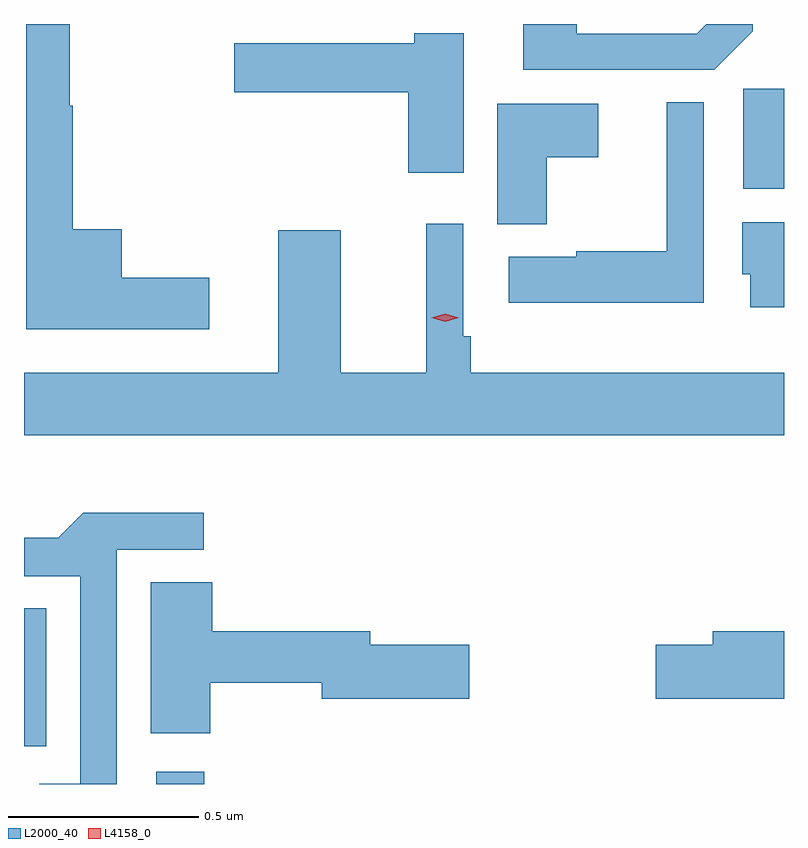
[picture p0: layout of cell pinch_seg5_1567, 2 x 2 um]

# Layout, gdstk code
import gdstk
lib = gdstk.Library(unit=1e-6, precision=1e-09)
def R(c, l, rs):  # rectangles x0, y0, x1, y1
    for r in rs: c.add(gdstk.rectangle(r[:2], r[2:], *l))
def P(c, l, *ps):  # polygons
    for p in ps: c.add(gdstk.Polygon(p, *l))
L2000_40 = (2000, 40)
L4158_0 = (4158, 0)

pinch_seg5_1567 = lib.new_cell('pinch_seg5_1567')
R(pinch_seg5_1567, L2000_40, [(332.519,833.198,332.645,833.23), (332.171,833.298,332.23,833.66), (334.064,834.764,334.171,835.028)])
P(pinch_seg5_1567, L2000_40, [(334.089,835.179),(334.089,835.198),(333.967,835.198),(333.942,835.173),(333.625,835.173),(333.625,835.198),(333.485,835.198),(333.485,835.077),(333.987,835.077)],
  [(332.659,834.53),(332.428,834.53),(332.428,834.658),(332.299,834.658),(332.299,834.983),(332.291,834.983),(332.291,835.198),(332.177,835.198),(332.177,834.395),(332.659,834.395)],
  [(333.328,835.174),(333.198,835.174),(333.198,835.147),(332.724,835.147),(332.724,835.018),(333.182,835.018),(333.182,834.807),(333.328,834.807)],
  [(333.96,834.992),(333.863,834.992),(333.863,834.6),(333.624,834.6),(333.624,834.586),(333.447,834.586),(333.447,834.464),(333.96,834.464)],
  [(333.546,834.848),(333.682,834.848),(333.682,834.988),(333.416,834.988),(333.416,834.671),(333.546,834.671)],
  [(334.171,834.676),(334.061,834.676),(334.061,834.54),(334.082,834.54),(334.082,834.452),(334.171,834.452)],
  [(334.171,834.28),(333.347,834.28),(333.347,834.376),(333.327,834.376),(333.327,834.673),(333.229,834.673),(333.229,834.28),(333.004,834.28),(333.004,834.655),(332.84,834.655),(332.84,834.28),(332.171,834.28),(332.171,834.116),(334.171,834.116)],
  [(332.415,833.814),(332.644,833.814),(332.644,833.912),(332.327,833.912),(332.261,833.846),(332.171,833.846),(332.171,833.745),(332.319,833.745),(332.319,833.199),(332.211,833.199),(332.211,833.198),(332.415,833.198)],
  [(332.661,833.464),(332.954,833.464),(332.954,833.422),(333.343,833.422),(333.343,833.564),(333.082,833.564),(333.082,833.6),(332.666,833.6),(332.666,833.729),(332.504,833.729),(332.504,833.331),(332.661,833.331)],
  [(334.171,833.6),(333.983,833.6),(333.983,833.564),(333.834,833.564),(333.834,833.422),(334.171,833.422)])
P(pinch_seg5_1567, L4158_0, [(333.279,834.415),(333.243,834.425),(333.243,834.425),(333.243,834.425),(333.279,834.435),(333.315,834.425),(333.315,834.425),(333.315,834.425)])

lib.write_gds('pinch_seg5_1567.gds')
